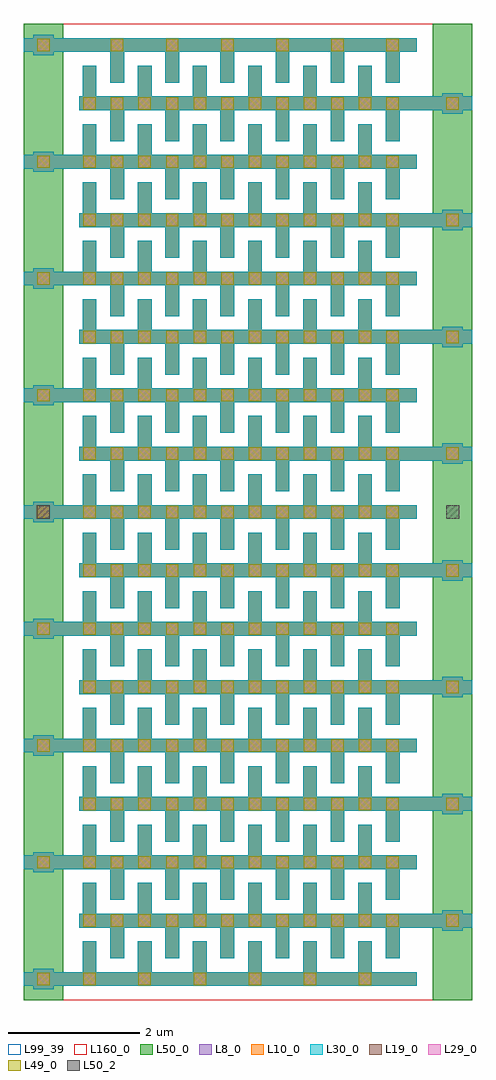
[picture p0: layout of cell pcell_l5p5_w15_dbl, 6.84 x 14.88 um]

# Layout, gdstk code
import gdstk
lib = gdstk.Library(unit=1e-6, precision=1e-09)
def R(c, l, rs):  # rectangles x0, y0, x1, y1
    for r in rs: c.add(gdstk.rectangle(r[:2], r[2:], *l))
def A(c, l, x, y, w, h, nx, ny, dx, dy):  # array of equal rectangles
    R(c, l, [(x+i*dx, y+j*dy, x+i*dx+w, y+j*dy+h) for i in range(nx) for j in range(ny)])
L8_0 = (8, 0)
L10_0 = (10, 0)
L19_0 = (19, 0)
L29_0 = (29, 0)
L30_0 = (30, 0)
L49_0 = (49, 0)
L50_0 = (50, 0)
L50_2 = (50, 2)
L99_39 = (99, 39)
L160_0 = (160, 0)

pcell_l5p5_w15_dbl = lib.new_cell('pcell_l5p5_w15_dbl')
A(pcell_l5p5_w15_dbl, L8_0, -0.755, -0.155, 0.31, 0.31, 1, 9, 0, 1.78)
A(pcell_l5p5_w15_dbl, L8_0, -0.9, -0.105, 5.99, 0.21, 1, 9, 0, 1.78)
A(pcell_l5p5_w15_dbl, L8_0, 0, 0, 0.21, 0.575, 6, 16, 0.84, 0.89)
A(pcell_l5p5_w15_dbl, L8_0, 0.42, 0.315, 0.21, 0.575, 6, 16, 0.84, 0.89)
A(pcell_l5p5_w15_dbl, L8_0, 5.485, 0.735, 0.31, 0.31, 1, 8, 0, 1.78)
A(pcell_l5p5_w15_dbl, L8_0, -0.05, 0.785, 5.99, 0.21, 1, 8, 0, 1.78)
A(pcell_l5p5_w15_dbl, L10_0, -0.755, -0.155, 0.31, 0.31, 1, 9, 0, 1.78)
A(pcell_l5p5_w15_dbl, L10_0, -0.9, -0.105, 5.99, 0.21, 1, 9, 0, 1.78)
A(pcell_l5p5_w15_dbl, L10_0, 0, 0, 0.21, 0.575, 6, 16, 0.84, 0.89)
A(pcell_l5p5_w15_dbl, L10_0, 0.42, 0.315, 0.21, 0.575, 6, 16, 0.84, 0.89)
A(pcell_l5p5_w15_dbl, L10_0, 5.485, 0.735, 0.31, 0.31, 1, 8, 0, 1.78)
A(pcell_l5p5_w15_dbl, L10_0, -0.05, 0.785, 5.99, 0.21, 1, 8, 0, 1.78)
A(pcell_l5p5_w15_dbl, L19_0, -0.695, -0.095, 0.19, 0.19, 1, 9, 0, 1.78)
A(pcell_l5p5_w15_dbl, L19_0, 0.01, -0.095, 0.19, 0.19, 6, 1, 0.84, 0)
A(pcell_l5p5_w15_dbl, L19_0, 0.01, 0.795, 0.19, 0.19, 12, 15, 0.42, 0.89)
A(pcell_l5p5_w15_dbl, L19_0, 5.545, 0.795, 0.19, 0.19, 1, 8, 0, 1.78)
A(pcell_l5p5_w15_dbl, L19_0, 0.43, 14.145, 0.19, 0.19, 6, 1, 0.84, 0)
A(pcell_l5p5_w15_dbl, L29_0, -0.695, -0.095, 0.19, 0.19, 1, 9, 0, 1.78)
A(pcell_l5p5_w15_dbl, L29_0, 0.01, -0.095, 0.19, 0.19, 6, 1, 0.84, 0)
A(pcell_l5p5_w15_dbl, L29_0, 0.01, 0.795, 0.19, 0.19, 12, 15, 0.42, 0.89)
A(pcell_l5p5_w15_dbl, L29_0, 5.545, 0.795, 0.19, 0.19, 1, 8, 0, 1.78)
A(pcell_l5p5_w15_dbl, L29_0, 0.43, 14.145, 0.19, 0.19, 6, 1, 0.84, 0)
A(pcell_l5p5_w15_dbl, L30_0, -0.755, -0.155, 0.31, 0.31, 1, 9, 0, 1.78)
A(pcell_l5p5_w15_dbl, L30_0, -0.9, -0.105, 5.99, 0.21, 1, 9, 0, 1.78)
A(pcell_l5p5_w15_dbl, L30_0, 0, 0, 0.21, 0.575, 6, 16, 0.84, 0.89)
A(pcell_l5p5_w15_dbl, L30_0, 0.42, 0.315, 0.21, 0.575, 6, 16, 0.84, 0.89)
A(pcell_l5p5_w15_dbl, L30_0, 5.485, 0.735, 0.31, 0.31, 1, 8, 0, 1.78)
A(pcell_l5p5_w15_dbl, L30_0, -0.05, 0.785, 5.99, 0.21, 1, 8, 0, 1.78)
A(pcell_l5p5_w15_dbl, L49_0, -0.695, -0.095, 0.19, 0.19, 1, 9, 0, 1.78)
A(pcell_l5p5_w15_dbl, L49_0, 0.01, -0.095, 0.19, 0.19, 6, 1, 0.84, 0)
A(pcell_l5p5_w15_dbl, L49_0, 0.01, 0.795, 0.19, 0.19, 12, 15, 0.42, 0.89)
A(pcell_l5p5_w15_dbl, L49_0, 5.545, 0.795, 0.19, 0.19, 1, 8, 0, 1.78)
A(pcell_l5p5_w15_dbl, L49_0, 0.43, 14.145, 0.19, 0.19, 6, 1, 0.84, 0)
A(pcell_l5p5_w15_dbl, L50_0, -0.9, -0.105, 5.99, 0.21, 1, 9, 0, 1.78)
A(pcell_l5p5_w15_dbl, L50_0, 0, 0, 0.21, 0.575, 6, 16, 0.84, 0.89)
A(pcell_l5p5_w15_dbl, L50_0, 0.42, 0.315, 0.21, 0.575, 6, 16, 0.84, 0.89)
A(pcell_l5p5_w15_dbl, L50_0, -0.05, 0.785, 5.99, 0.21, 1, 8, 0, 1.78)
R(pcell_l5p5_w15_dbl, L50_0, [(-0.9,-0.32,-0.3,14.56), (5.34,-0.32,5.94,14.56)])
R(pcell_l5p5_w15_dbl, L50_2, [(-0.7,7.015,-0.5,7.225), (5.54,7.015,5.74,7.225)])
R(pcell_l5p5_w15_dbl, L99_39, [(-0.9,-0.32,5.94,14.56)])
R(pcell_l5p5_w15_dbl, L160_0, [(-0.9,-0.32,5.94,14.56)])
pcell_l5p5_w15_dbl.add(gdstk.Label('cap_cmomi C=73.340fF', (-0.9,-0.82), layer=63, texttype=0))

lib.write_gds('pcell_l5p5_w15_dbl.gds')
